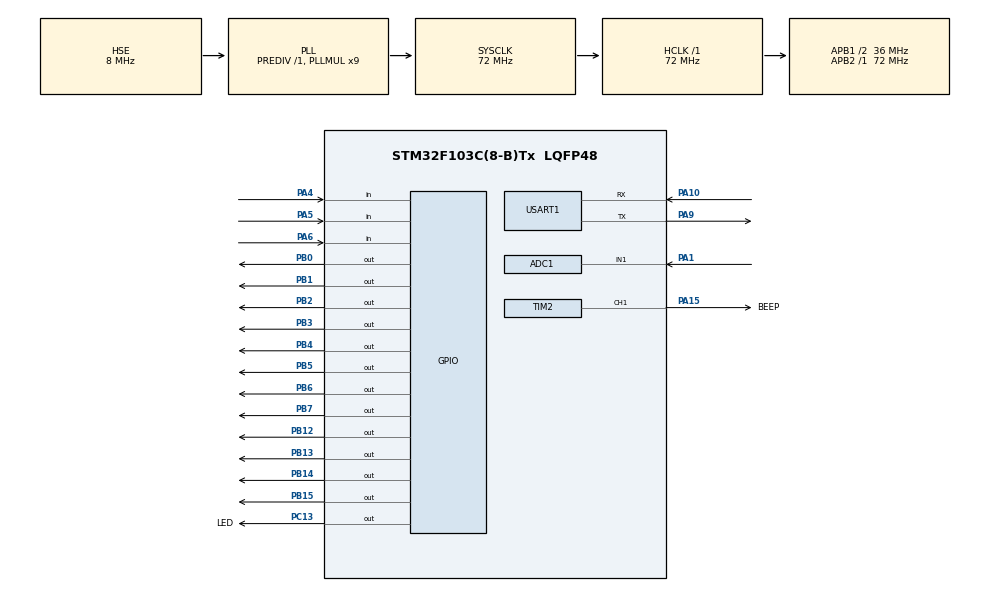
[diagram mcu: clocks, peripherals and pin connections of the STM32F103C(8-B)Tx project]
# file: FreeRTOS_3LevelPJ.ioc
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ADC1.Channel-1\#ChannelRegularConversion=ADC_CHANNEL_1
ADC1.NbrOfConversionFlag=1
ADC1.Rank-1\#ChannelRegularConversion=1
ADC1.SamplingTime-1\#ChannelRegularConversion=ADC_SAMPLETIME_1CYCLE_5
ADC1.master=1
FREERTOS.Tasks01=defaultTask,0,64,StartDefaultTask,Default,NULL,Dynamic,NULL,NULL
FREERTOS.configMINIMAL_STACK_SIZE=64
FREERTOS.configTOTAL_HEAP_SIZE=3072
Mcu.Family=STM32F1
Mcu.Name=STM32F103C(8-B)Tx
Mcu.Package=LQFP48
NVIC.ADC1_2_IRQn=true\:5\:0\:false\:false\:true\:true\:true\:true\:true
NVIC.PriorityGroup=NVIC_PRIORITYGROUP_4
NVIC.TIM1_UP_IRQn=true\:15\:0\:false\:false\:true\:false\:false\:true\:true
NVIC.TIM2_IRQn=true\:5\:0\:false\:false\:true\:true\:true\:true\:true
NVIC.TIM3_IRQn=true\:5\:0\:false\:false\:true\:true\:true\:true\:true
NVIC.TimeBase=TIM1_UP_IRQn
NVIC.TimeBaseIP=TIM1
NVIC.USART1_IRQn=true\:5\:0\:false\:false\:true\:true\:true\:true\:true
PA1.Signal=ADCx_IN1
PA10.Mode=Asynchronous
PA10.Signal=USART1_RX
PA13.Mode=Serial_Wire
PA13.Signal=SYS_JTMS-SWDIO
PA14.Mode=Serial_Wire
PA14.Signal=SYS_JTCK-SWCLK
PA15.GPIO_Label=BEEP
PA15.Signal=S_TIM2_CH1_ETR
PA4.Signal=GPIO_Input
PA5.Signal=GPIO_Input
PA6.Signal=GPIO_Input
PA9.Mode=Asynchronous
PA9.Signal=USART1_TX
PB0.Signal=GPIO_Output
PB1.Signal=GPIO_Output
PB12.PinState=GPIO_PIN_SET
PB12.Signal=GPIO_Output
PB13.PinState=GPIO_PIN_SET
PB13.Signal=GPIO_Output
PB14.PinState=GPIO_PIN_SET
PB14.Signal=GPIO_Output
PB15.PinState=GPIO_PIN_SET
PB15.Signal=GPIO_Output
PB2.Signal=GPIO_Output
PB3.Signal=GPIO_Output
PB4.Signal=GPIO_Output
PB5.Signal=GPIO_Output
PB6.Signal=GPIO_Output
PB7.Signal=GPIO_Output
PC13-TAMPER-RTC.GPIO_Label=LED
PC13-TAMPER-RTC.Signal=GPIO_Output
PD0-OSC_IN.Mode=HSE-External-Oscillator
PD0-OSC_IN.Signal=RCC_OSC_IN
PD1-OSC_OUT.Mode=HSE-External-Oscillator
PD1-OSC_OUT.Signal=RCC_OSC_OUT
ProjectManager.HeapSize=0x200
ProjectManager.StackSize=0x400
ProjectManager.TargetToolchain=MDK-ARM V5.32
RCC.ADCPresc=RCC_ADCPCLK2_DIV6
RCC.AHBFreq_Value=72000000
RCC.APB1CLKDivider=RCC_HCLK_DIV2
RCC.APB1Freq_Value=36000000
RCC.APB1TimFreq_Value=72000000
RCC.APB2Freq_Value=72000000
RCC.APB2TimFreq_Value=72000000
RCC.HCLKFreq_Value=72000000
RCC.PLLMUL=RCC_PLL_MUL9
RCC.PLLSourceVirtual=RCC_PLLSOURCE_HSE
RCC.SYSCLKFreq_VALUE=72000000
RCC.SYSCLKSource=RCC_SYSCLKSOURCE_PLLCLK
RCC.USBFreq_Value=72000000
SH.ADCx_IN1.0=ADC1_IN1,IN1
SH.S_TIM2_CH1_ETR.0=TIM2_CH1,PWM Generation1 CH1
TIM2.AutoReloadPreload=TIM_AUTORELOAD_PRELOAD_ENABLE
TIM2.Channel-PWM\ Generation1\ CH1=TIM_CHANNEL_1
TIM2.OCFastMode_PWM-PWM\ Generation1\ CH1=TIM_OCFAST_ENABLE
TIM2.Period=5000-1
TIM2.Prescaler=72-1
TIM2.Pulse-PWM\ Generation1\ CH1=100
TIM3.Period=1000
TIM3.Prescaler=72
USART1.VirtualMode=VM_ASYNC
VP_FREERTOS_VS_CMSIS_V1.Mode=CMSIS_V1
VP_SYS_VS_tim1.Mode=TIM1
VP_TIM2_VS_ClockSourceINT.Mode=Internal
VP_TIM3_VS_ClockSourceINT.Mode=Internal
board=custom

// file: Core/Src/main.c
/* USER CODE BEGIN Header */
/**
  ******************************************************************************
  * @file           : main.c
  * @brief          : Main program body
  ******************************************************************************
  * @attention
  *
  * Copyright (c) 2022 STMicroelectronics.
  * All rights reserved.
  *
  * This software is licensed under terms that can be found in the LICENSE file
  * in the root directory of this software component.
  * If no LICENSE file comes with this software, it is provided AS-IS.
  *
  ******************************************************************************
  */
/* USER CODE END Header */
#include "main.h"
#include "cmsis_os.h"
#include "adc.h"
#include "tim.h"
#include "usart.h"
#include "gpio.h"

/* USER CODE BEGIN Includes */
#include "key.h"
#include "seg.h"
/* USER CODE END Includes */

void SystemClock_Config(void);
void MX_FREERTOS_Init(void);

int main(void)
{

  /* MCU Configuration--------------------------------------------------------*/

  /* Reset of all peripherals, Initializes the Flash interface and the Systick. */
  HAL_Init();

  /* Configure the system clock */
  SystemClock_Config();

  /* Initialize all configured peripherals */
  MX_GPIO_Init();
  MX_USART1_UART_Init();
  MX_TIM2_Init();
  MX_ADC1_Init();
  MX_TIM3_Init();
  /* USER CODE BEGIN 2 */
	bsp_InitButton();
	HAL_ADCEx_Calibration_Start(&hadc1);
	//TIM2->CR1 &= (uint16_t)(~((uint16_t)TIM_CR1_CEN));
  /* USER CODE END 2 */

  /* Call init function for freertos objects (in freertos.c) */
  MX_FREERTOS_Init();

  /* Start scheduler */
  osKernelStart();

  /* We should never get here as control is now taken by the scheduler */
  /* Infinite loop */
  while (1)
  {

  }
}

void SystemClock_Config(void)
{
  RCC_OscInitTypeDef RCC_OscInitStruct = {0};
  RCC_ClkInitTypeDef RCC_ClkInitStruct = {0};
  RCC_PeriphCLKInitTypeDef PeriphClkInit = {0};

  /** Initializes the RCC Oscillators according to the specified parameters
  * in the RCC_OscInitTypeDef structure.
  */
  RCC_OscInitStruct.OscillatorType = RCC_OSCILLATORTYPE_HSE;
  RCC_OscInitStruct.HSEState = RCC_HSE_ON;
  RCC_OscInitStruct.HSEPredivValue = RCC_HSE_PREDIV_DIV1;
  RCC_OscInitStruct.HSIState = RCC_HSI_ON;
  RCC_OscInitStruct.PLL.PLLState = RCC_PLL_ON;
  RCC_OscInitStruct.PLL.PLLSource = RCC_PLLSOURCE_HSE;
  RCC_OscInitStruct.PLL.PLLMUL = RCC_PLL_MUL9;
  if (HAL_RCC_OscConfig(&RCC_OscInitStruct) != HAL_OK)
  {
    Error_Handler();
  }

  /** Initializes the CPU, AHB and APB buses clocks
  */
  RCC_ClkInitStruct.ClockType = RCC_CLOCKTYPE_HCLK|RCC_CLOCKTYPE_SYSCLK
                              |RCC_CLOCKTYPE_PCLK1|RCC_CLOCKTYPE_PCLK2;
  RCC_ClkInitStruct.SYSCLKSource = RCC_SYSCLKSOURCE_PLLCLK;
  RCC_ClkInitStruct.AHBCLKDivider = RCC_SYSCLK_DIV1;
  RCC_ClkInitStruct.APB1CLKDivider = RCC_HCLK_DIV2;
  RCC_ClkInitStruct.APB2CLKDivider = RCC_HCLK_DIV1;

  if (HAL_RCC_ClockConfig(&RCC_ClkInitStruct, FLASH_LATENCY_2) != HAL_OK)
  {
    Error_Handler();
  }
  PeriphClkInit.PeriphClockSelection = RCC_PERIPHCLK_ADC;
  PeriphClkInit.AdcClockSelection = RCC_ADCPCLK2_DIV6;
  if (HAL_RCCEx_PeriphCLKConfig(&PeriphClkInit) != HAL_OK)
  {
    Error_Handler();
  }
}

void HAL_TIM_PeriodElapsedCallback(TIM_HandleTypeDef *htim)
{
  if (htim->Instance == TIM1) {
    HAL_IncTick();
  }
  /* USER CODE BEGIN Callback 1 */
  if (htim->Instance == TIM3) {
		//printf("FUNCTION=%s\r\n",__FUNCTION__);
    DisplayScanOneTimeOneSeg();
  }
	#if 0
  if (htim->Instance == TIM2) {
		printf("FUNCTION=%s\r\n",__FUNCTION__);
  }
	#endif
  /* USER CODE END Callback 1 */
}

void Error_Handler(void)
{
  __disable_irq();
  while (1)
  {
  }
}

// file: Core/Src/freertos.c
/* USER CODE BEGIN Header */
/**
  ******************************************************************************
  * File Name          : freertos.c
  * Description        : Code for freertos applications
  ******************************************************************************
  * @attention
  *
  * Copyright (c) 2022 STMicroelectronics.
  * All rights reserved.
  *
  * This software is licensed under terms that can be found in the LICENSE file
  * in the root directory of this software component.
  * If no LICENSE file comes with this software, it is provided AS-IS.
  *
  ******************************************************************************
  */
/* USER CODE END Header */

#include "FreeRTOS.h"
#include "task.h"
#include "main.h"
#include "cmsis_os.h"

/* USER CODE BEGIN Includes */
#include <math.h>
#include "seg.h"
#include "adc.h"
#include "tim.h"
#include "key.h"
#include "stm32f1xx_hal_tim.h"
#include "usart.h"
#include "beep.h"
/* USER CODE END Includes */

/* USER CODE BEGIN PD */
#if 1
#define BEEPON		TIM2->CR1 |= TIM_CR1_CEN;
#define BEEPOFF		TIM2->CR1 &= (uint16_t)(~((uint16_t)TIM_CR1_CEN));
#else
#define BEEPON		__HAL_TIM_ENABLE(&htim2)	//TIM2->CR1 |= TIM_CR1_CEN;
#define BEEPOFF		__HAL_TIM_DISABLE(&htim2)	//TIM2->CR1 &= (uint16_t)(~((uint16_t)TIM_CR1_CEN));
#endif
/* USER CODE END PD */

/* USER CODE BEGIN PM */
#define STARTINGANIMATION_TIME 5000	/*开机动画s*/

typedef enum //主模式结构体
{
	MAINMODE_SHUTDOWN, //
	MAINMODE_NOTDIAG,
	MAINMODE_DIAG,
	MAINMODE_MAX
}MAINMODE_TYPE;

typedef enum  //子模式结构体
{
	SUBMODE_NULL,
	SUBMODE_INITIAL,
	SUBMODE_AM,
	SUBMODE_USB,
	SUBMODE_BTA,
	SUBMODE_LED,
	SUBMODE_SEG,
	SUBMODE_TEMP,
	SUBMODE_BEEP,
	SUBMODE_MAX
}SUBMODE_TYPE;

typedef enum //按键结构体
{
	KEY_RESET,
	KEY_SRC_SHORT,
	KEY_SRC_LONG,
	KEY_UP_SHORT,
	KEY_UP_LONG,
	KEY_DOWN_SHORT,
	KEY_DOWN_LONG,
	KEY_SRC_UP_GROUP,
	KEY_MAX
}KEY_TYPE;

typedef enum //数码管结构体
{
	SEG_ALLON,
	SEG_ALLOFF,
	SEG_MAX
}SEG_STATUS;

typedef enum
{
	MUSIC_STATUS_ON,
	MUSIC_STATUS_OFF,
	MUSIC_STATUS_MAX
}MUSIC_STATUS;
/* USER CODE END PM */

/* USER CODE BEGIN Variables */
/* 队列关联信息 */
#define KEYMSG_Q_NUM    1  					//按键消息队列的数量
QueueHandle_t Key_Queue = NULL;   	//按键值消息队列句柄

/* 事件标志组句柄 */
EventGroupHandle_t EventGroupHandler = NULL;

/* 二值信号量句柄 */
SemaphoreHandle_t BinarySemaphore;

/* 状态迁移表用变量 */
typedef void (*FUNC_POINETR)(MAINMODE_TYPE,SUBMODE_TYPE);

/* 状态管理用变量 */
MAINMODE_TYPE Main_Mode = MAINMODE_SHUTDOWN;
SUBMODE_TYPE Sub_Mode = SUBMODE_NULL;
MAINMODE_TYPE Before_Main_Mode = MAINMODE_SHUTDOWN;
SUBMODE_TYPE Before_Sub_Mode = SUBMODE_NULL;

/* AM的波特率 */
signed char Frequency = 80;

/* ADC温度采集值 */
float AD_TempValueFromISR = 0;
unsigned int AD_TempValue = 0;

unsigned char track_num = 1;
#define TRACK_NUM_MAX 3
MUSIC_STATUS eMusic_Status = MUSIC_STATUS_OFF;

/* 数码管全亮/全灭控制变量 */
SEG_STATUS eSubModeSeg_Status = SEG_ALLOFF;

/* 数码管显示任务 */
#define SEG_TASK_PRIO 8
#define SEG_STK_SIZE  64
void seg_task(void * pvParameters);
TaskHandle_t SegTask_Handle;

/* 按键处理任务 */
#define KEY_TASK_PRIO 6	//6
#define KEY_STK_SIZE  64
void key_task(void * pvParameters);
TaskHandle_t KeyTask_Handle;

/* 状态迁移任务 */
#define STATUS_TASK_PRIO 19
#define STATUS_STK_SIZE  256
void status_task(void * pvParameters);
TaskHandle_t StatusTask_Handle;

/* 开机动画任务 */
#define STARTINGANIMATION_TASK_PRIO 22
#define STARTINGANIMATION_STK_SIZE  64
void startinganimation_task(void * pvParameters);
TaskHandle_t StartingAnimationTask_Handle;

/* 音乐播放任务 */
#define MUSIC_TASK_PRIO 1
#define MUSIC_STK_SIZE  64
void music_task(void * pvParameters);
TaskHandle_t MusicTask_Handle;
/* USER CODE END Variables */
osThreadId defaultTaskHandle;

/* USER CODE BEGIN FunctionPrototypes */
void Initial(void);																				/* 初期化函数											*/
void SetKeyCode2EventGroup(unsigned char ucKeyCode);		/* 将按键的押下弹起整理在事件集里 */
void ChangeKey2Evnet(void);																/* 从事件集总结出按键事件					*/

/* 状态迁移函数声明部分 */
void Func_1_0(MAINMODE_TYPE mainmode,SUBMODE_TYPE submode);
void Func_1_1(MAINMODE_TYPE mainmode,SUBMODE_TYPE submode);
void Func_1_2(MAINMODE_TYPE mainmode,SUBMODE_TYPE submode);
void Func_1_3(MAINMODE_TYPE mainmode,SUBMODE_TYPE submode);
void Func_1_4(MAINMODE_TYPE mainmode,SUBMODE_TYPE submode);
void Func_1_5(MAINMODE_TYPE mainmode,SUBMODE_TYPE submode);
void Func_1_6(MAINMODE_TYPE mainmode,SUBMODE_TYPE submode);
void Func_1_7(MAINMODE_TYPE mainmode,SUBMODE_TYPE submode);
void Func_1_8(MAINMODE_TYPE mainmode,SUBMODE_TYPE submode);
void Func_2_0(MAINMODE_TYPE mainmode,SUBMODE_TYPE submode);
void Func_2_1(MAINMODE_TYPE mainmode,SUBMODE_TYPE submode);
void Func_2_2(MAINMODE_TYPE mainmode,SUBMODE_TYPE submode);
void Func_2_3(MAINMODE_TYPE mainmode,SUBMODE_TYPE submode);
void Func_2_4(MAINMODE_TYPE mainmode,SUBMODE_TYPE submode);
void Func_2_5(MAINMODE_TYPE mainmode,SUBMODE_TYPE submode);
void Func_2_6(MAINMODE_TYPE mainmode,SUBMODE_TYPE submode);
void Func_2_7(MAINMODE_TYPE mainmode,SUBMODE_TYPE submode);
void Func_2_8(MAINMODE_TYPE mainmode,SUBMODE_TYPE submode);
void Func_3_0(MAINMODE_TYPE mainmode,SUBMODE_TYPE submode);
void Func_3_1(MAINMODE_TYPE mainmode,SUBMODE_TYPE submode);
void Func_3_2(MAINMODE_TYPE mainmode,SUBMODE_TYPE submode);
void Func_3_3(MAINMODE_TYPE mainmode,SUBMODE_TYPE submode);
void Func_3_4(MAINMODE_TYPE mainmode,SUBMODE_TYPE submode);
void Func_3_5(MAINMODE_TYPE mainmode,SUBMODE_TYPE submode);
void Func_3_6(MAINMODE_TYPE mainmode,SUBMODE_TYPE submode);
void Func_3_7(MAINMODE_TYPE mainmode,SUBMODE_TYPE submode);
void Func_3_8(MAINMODE_TYPE mainmode,SUBMODE_TYPE submode);
void Func_4_0(MAINMODE_TYPE mainmode,SUBMODE_TYPE submode);
void Func_4_1(MAINMODE_TYPE mainmode,SUBMODE_TYPE submode);
void Func_4_2(MAINMODE_TYPE mainmode,SUBMODE_TYPE submode);
void Func_4_3(MAINMODE_TYPE mainmode,SUBMODE_TYPE submode);
void Func_4_4(MAINMODE_TYPE mainmode,SUBMODE_TYPE submode);
void Func_4_5(MAINMODE_TYPE mainmode,SUBMODE_TYPE submode);
void Func_4_6(MAINMODE_TYPE mainmode,SUBMODE_TYPE submode);
void Func_4_7(MAINMODE_TYPE mainmode,SUBMODE_TYPE submode);
void Func_4_8(MAINMODE_TYPE mainmode,SUBMODE_TYPE submode);
void Func_5_0(MAINMODE_TYPE mainmode,SUBMODE_TYPE submode);
void Func_5_1(MAINMODE_TYPE mainmode,SUBMODE_TYPE submode);
void Func_5_2(MAINMODE_TYPE mainmode,SUBMODE_TYPE submode);
void Func_5_3(MAINMODE_TYPE mainmode,SUBMODE_TYPE submode);
void Func_5_4(MAINMODE_TYPE mainmode,SUBMODE_TYPE submode);
void Func_5_5(MAINMODE_TYPE mainmode,SUBMODE_TYPE submode);
void Func_5_6(MAINMODE_TYPE mainmode,SUBMODE_TYPE submode);
void Func_5_7(MAINMODE_TYPE mainmode,SUBMODE_TYPE submode);
void Func_5_8(MAINMODE_TYPE mainmode,SUBMODE_TYPE submode);
void Func_6_0(MAINMODE_TYPE mainmode,SUBMODE_TYPE submode);
void Func_6_1(MAINMODE_TYPE mainmode,SUBMODE_TYPE submode);
void Func_6_2(MAINMODE_TYPE mainmode,SUBMODE_TYPE submode);
void Func_6_3(MAINMODE_TYPE mainmode,SUBMODE_TYPE submode);
void Func_6_4(MAINMODE_TYPE mainmode,SUBMODE_TYPE submode);
void Func_6_5(MAINMODE_TYPE mainmode,SUBMODE_TYPE submode);
void Func_6_6(MAINMODE_TYPE mainmode,SUBMODE_TYPE submode);
void Func_6_7(MAINMODE_TYPE mainmode,SUBMODE_TYPE submode);
void Func_6_8(MAINMODE_TYPE mainmode,SUBMODE_TYPE submode);
void Func_7_0(MAINMODE_TYPE mainmode,SUBMODE_TYPE submode);
void Func_7_1(MAINMODE_TYPE mainmode,SUBMODE_TYPE submode);
void Func_7_2(MAINMODE_TYPE mainmode,SUBMODE_TYPE submode);
void Func_7_3(MAINMODE_TYPE mainmode,SUBMODE_TYPE submode);
void Func_7_4(MAINMODE_TYPE mainmode,SUBMODE_TYPE submode);
void Func_7_5(MAINMODE_TYPE mainmode,SUBMODE_TYPE submode);
void Func_7_6(MAINMODE_TYPE mainmode,SUBMODE_TYPE submode);
void Func_7_7(MAINMODE_TYPE mainmode,SUBMODE_TYPE submode);
void Func_7_8(MAINMODE_TYPE mainmode,SUBMODE_TYPE submode);

/* 根据状态迁移表做出来的状态迁移矩阵 */
FUNC_POINETR STATUS_FUNC_MATRIX[KEY_MAX][SUBMODE_MAX]=
{
	{NULL,			NULL,			NULL,			NULL,			NULL,			NULL,			NULL,			NULL,			NULL},
	{Func_1_0,	NULL,			Func_1_2,	Func_1_3,	Func_1_4,	Func_1_5,	Func_1_6,	Func_1_7,	Func_1_8},
	{Func_2_0,	NULL,			Func_2_2,	Func_2_3,	Func_2_4,	NULL,			NULL,			NULL,			NULL},
	{NULL,			NULL,			Func_3_2,	Func_3_3,	NULL,			Func_3_5,	Func_3_6,	NULL,			NULL},
	{NULL,			NULL,			Func_4_2,	NULL,			NULL,			Func_4_5,	Func_4_6,	NULL,			NULL},
	{NULL,			NULL,			Func_5_2,	Func_5_3,	NULL,			Func_5_5,	Func_5_6,	Func_5_7,	Func_5_8},
	{NULL,			NULL,			Func_6_2,	NULL,			NULL,			Func_6_5,	Func_6_6,	Func_6_7,	Func_6_8},
	{NULL,			NULL,			Func_7_2,	NULL,			NULL,			NULL,			NULL,			NULL,			NULL}
};
/* USER CODE END FunctionPrototypes */

void StartDefaultTask(void const * argument);

void MX_FREERTOS_Init(void); /* (MISRA C 2004 rule 8.1) */

/* GetIdleTaskMemory prototype (linked to static allocation support) */
void vApplicationGetIdleTaskMemory( StaticTask_t **ppxIdleTaskTCBBuffer, StackType_t **ppxIdleTaskStackBuffer, uint32_t *pulIdleTaskStackSize );

/* USER CODE BEGIN GET_IDLE_TASK_MEMORY */
static StaticTask_t xIdleTaskTCBBuffer;
static StackType_t xIdleStack[configMINIMAL_STACK_SIZE];

void vApplicationGetIdleTaskMemory( StaticTask_t **ppxIdleTaskTCBBuffer, StackType_t **ppxIdleTaskStackBuffer, uint32_t *pulIdleTaskStackSize )
{
  *ppxIdleTaskTCBBuffer = &xIdleTaskTCBBuffer;
  *ppxIdleTaskStackBuffer = &xIdleStack[0];
  *pulIdleTaskStackSize = configMINIMAL_STACK_SIZE;
  /* place for user code */
}
/* USER CODE END GET_IDLE_TASK_MEMORY */

void MX_FREERTOS_Init(void) {

  /* USER CODE BEGIN RTOS_TIMERS */
  HAL_TIM_Base_Start_IT(&htim2);			/* NEU_FUNCTION:BEEP */
	HAL_TIM_Base_Start_IT(&htim3);		  /* NEU_FUNCTION:SEG  */
  /* USER CODE END RTOS_TIMERS */

  /* Create the thread(s) */
  /* definition and creation of defaultTask */
  osThreadDef(defaultTask, StartDefaultTask, osPriorityNormal, 0, 64);
  defaultTaskHandle = osThreadCreate(osThread(defaultTask), NULL);

}

void StartDefaultTask(void const * argument)
{
  /* USER CODE BEGIN StartDefaultTask */
  /* Infinite loop */
	/*进入临界段*/
	taskENTER_CRITICAL();
	/* 创建任务，队列，信号量等 */

	/* 创建消息队列Key_Queue */
	Key_Queue=xQueueCreate(KEYMSG_Q_NUM,sizeof(char));
  /* 创建事件标志组 */
	EventGroupHandler=xEventGroupCreate();
	/* 创建二值号量	*/
	BinarySemaphore=xSemaphoreCreateBinary();

	/* 创建数码管显示任务 */
	xTaskCreate((TaskFunction_t) seg_task,
							(char*         ) "seg_task",
							(configSTACK_DEPTH_TYPE) SEG_STK_SIZE,
							(void*         ) NULL,
							(UBaseType_t   ) SEG_TASK_PRIO,
							(TaskHandle_t* ) &SegTask_Handle);

	/* 创建按键处理任务 */
	xTaskCreate((TaskFunction_t) key_task,
							(char*         ) "key_task",
							(configSTACK_DEPTH_TYPE) KEY_STK_SIZE,
							(void*         ) NULL,
							(UBaseType_t   ) KEY_TASK_PRIO,
							(TaskHandle_t* ) &KeyTask_Handle);

	/* 创建状态迁移任务 */
	xTaskCreate((TaskFunction_t) status_task,
							(char*         ) "status_task",
							(configSTACK_DEPTH_TYPE) STATUS_STK_SIZE,
							(void*         ) NULL,
							(UBaseType_t   ) STATUS_TASK_PRIO,
							(TaskHandle_t* ) &StatusTask_Handle);

	/* 创建开机动画任务 */
	xTaskCreate((TaskFunction_t) startinganimation_task,
							(char*         ) "startinganimation_task",
							(configSTACK_DEPTH_TYPE) STARTINGANIMATION_STK_SIZE,
							(void*         ) NULL,
							(UBaseType_t   ) STARTINGANIMATION_TASK_PRIO,
							(TaskHandle_t* ) &StartingAnimationTask_Handle);

	/* 音乐播放任务 */
	xTaskCreate((TaskFunction_t) music_task,
							(char*         ) "music_task",
							(configSTACK_DEPTH_TYPE) MUSIC_STK_SIZE,
							(void*         ) NULL,
							(UBaseType_t   ) MUSIC_TASK_PRIO,
							(TaskHandle_t* ) &MusicTask_Handle);

	vTaskDelete(defaultTaskHandle);
	/*退出临界段*/
	taskEXIT_CRITICAL();
  /* USER CODE END StartDefaultTask */
}

/* USER CODE BEGIN Application */
/* 数码管显示任务 */
void seg_task(void* argument)
{
  /* Infinite loop */
  for(;;)
  {

		if((Main_Mode == MAINMODE_SHUTDOWN)&& (Sub_Mode == SUBMODE_NULL)) //判断主子模式
		{
			LEDDisplayString("####", NO_DOT);						/* #:熄灭 */
		}else if(Main_Mode == MAINMODE_NOTDIAG)
		{
			switch( Sub_Mode )
			{
				case SUBMODE_INITIAL:
					break;
				case SUBMODE_AM:
					LEDDisplay2Half('A',Frequency,3);
					break;
				case SUBMODE_USB:
					LEDDisplay2Half('U',track_num,3);
					break;
				case SUBMODE_BTA:
						LEDDisplayString("B---", 3);
					break;
			}
		}else if(Main_Mode == MAINMODE_DIAG){
			switch(Sub_Mode)
			{
				case SUBMODE_LED:
					LEDDisplayString("1LED", 3);
					ALLOFF;
					break;
				case SUBMODE_SEG:
					if(SEG_ALLON == eSubModeSeg_Status)
					{
						LEDDisplayString("****", ALL_DOT);		/* *:全亮 */
					}else{
						LEDDisplayString("####", NO_DOT);			/* #:熄灭 */
					}
					break;
				case SUBMODE_TEMP:
					HAL_ADC_Start_IT(&hadc1); // 开中断获取值
					LEDDisplayNumber(3000+AD_TempValue,3);
					break;
				case SUBMODE_BEEP:
					LEDDisplayString("4BPP", 3);
					break;
				default:
					break;
			}
		}
    osDelay(100);
  }
}

/* 按键处理任务 */
void key_task(void* argument)
{
	unsigned char KeyCode;	/* 按键代码 */

	while(1)
	{
		bsp_KeyPro();
		KeyCode = bsp_GetKey();

		if (KeyCode > 0)
		{
			SetKeyCode2EventGroup(KeyCode);
			ChangeKey2Evnet();
		}

		osDelay(10);
	}
}

static void ChangeKey2Evnet()
{
	EventBits_t EventValue;
	unsigned char value = 0xFF;

	if(NULL != EventGroupHandler)
	{
		EventValue = xEventGroupGetBits(EventGroupHandler);
		switch(EventValue)
		{
			case ST2_KEY_SHORT:
				value = KEY_SRC_SHORT;
				xQueueSend(Key_Queue,&value,portMAX_DELAY);
				xEventGroupClearBits(EventGroupHandler,0x0FFF);
				break;
			case ST2_KEY_LONG:
				value = KEY_SRC_LONG;
				xQueueSend(Key_Queue,&value,portMAX_DELAY);
				xEventGroupClearBits(EventGroupHandler,0x0FFF);
				break;
			case ST3_KEY_SHORT:
				value = KEY_UP_SHORT;
				xQueueSend(Key_Queue,&value,portMAX_DELAY);
				xEventGroupClearBits(EventGroupHandler,0x0FFF);
				break;
			case ST3_KEY_LONG:
				value = KEY_UP_LONG;
				xQueueSend(Key_Queue,&value,portMAX_DELAY);
				xEventGroupClearBits(EventGroupHandler,0x0FFF);
				break;
			case ST4_KEY_SHORT:
				value = KEY_DOWN_SHORT;
				xQueueSend(Key_Queue,&value,portMAX_DELAY);
				xEventGroupClearBits(EventGroupHandler,0x0000);
				break;
			case ST4_KEY_LONG:
				value = KEY_DOWN_LONG;
				xQueueSend(Key_Queue,&value,portMAX_DELAY);
				xEventGroupClearBits(EventGroupHandler,0x0000);
				break;
			case ST2_ST3_GROUP:
				value = KEY_SRC_UP_GROUP;
				xQueueSend(Key_Queue,&value,portMAX_DELAY);
				xEventGroupClearBits(EventGroupHandler,0x0000);
				break;
			default:
				break;
		}
	}
}

static void SetKeyCode2EventGroup(unsigned char ucKeyCode)
{
	if(NULL != EventGroupHandler)
	{
		switch (ucKeyCode) {
			case KEY_DOWN_BTN1:
				xEventGroupSetBits(EventGroupHandler,ST2_BIT_SHORT);//SW2键按下
				break;
			case KEY_UP_BTN1:
				xEventGroupSetBits(EventGroupHandler,ST2_BIT_UP);//SW2键弹起
				break;
			case KEY_LONG_BTN1:
				xEventGroupSetBits(EventGroupHandler,ST2_BIT_LONG);//SW2键长按
				break;
			case KEY_DOWN_BTN2:
				xEventGroupSetBits(EventGroupHandler,ST3_BIT_SHORT);//SW3键按下
				break;
			case KEY_UP_BTN2:
				xEventGroupSetBits(EventGroupHandler,ST3_BIT_UP);//SW3键弹起
				break;
			case KEY_LONG_BTN2:
				xEventGroupSetBits(EventGroupHandler,ST3_BIT_LONG);//SW3键长按
				break;
			case KEY_DOWN_BTN3:
				xEventGroupSetBits(EventGroupHandler,ST4_BIT_SHORT);//SW4键按下
				break;
			case KEY_UP_BTN3:
				xEventGroupSetBits(EventGroupHandler,ST4_BIT_UP);//SW4键弹起
				break;
			case KEY_LONG_BTN3:
				xEventGroupSetBits(EventGroupHandler,ST4_BIT_LONG);//SW4键长按
				break;
			case KEY_DOWN_BTN1_BTN2:
				xEventGroupSetBits(EventGroupHandler,ST2_ST3_BIT_GROUP);//组合键，SW2键和SW3键同时按下
				break;
			default:
				break;
		}
	}
}

/* 状态迁移任务 */
void status_task(void* argument)
{
	unsigned char event;
	Initial();
  /* Infinite loop */
  while(1)
  {
		if(Key_Queue!=NULL)
    {
			if(xQueueReceive(Key_Queue,&event,portMAX_DELAY))
			{
				if((event < KEY_MAX) || (Main_Mode < MAINMODE_MAX) || (Sub_Mode < SUBMODE_MAX))
				{
					if(STATUS_FUNC_MATRIX[event][Sub_Mode] != NULL)
					{
						(*STATUS_FUNC_MATRIX[event][Sub_Mode])(Main_Mode,Sub_Mode);
					}
				}
			}
		}
		osDelay(50);
  }
}

/* 开机动画任务 */
void startinganimation_task(void* argument)
{
	BaseType_t state;
	static unsigned char num = 0;
	unsigned int time = 500;
	unsigned char times	= STARTINGANIMATION_TIME/time;

  while(1)
  {
		if(NULL != BinarySemaphore)
		{
			state = xSemaphoreTake(BinarySemaphore,portMAX_DELAY);
			if(pdTRUE == state  )
			{
				while(1)
				{
					if(times == num)
					{
						break;
					}
					LEDDisplayString("$###", NO_DOT);
					osDelay(time);

					LEDDisplayString("#$##", NO_DOT);
					osDelay(time);

					LEDDisplayString("##$#", NO_DOT);
					osDelay(time);

					LEDDisplayString("###$", NO_DOT);
					osDelay(time);
					num++;

				}
			}
		}
  }
}

/* 音乐播放任务 */
void music_task(void* argument)
{
  while(1)
  {
		if(MUSIC_STATUS_ON == eMusic_Status)
		{
			switch(track_num)
			{
				case 1:
								HAL_TIM_PWM_Start(&htim2,TIM_CHANNEL_1);
								BEEPON;
								osDelay(1);
								BEEPOFF;
								osDelay(1);
								HAL_TIM_PWM_Stop(&htim2,TIM_CHANNEL_1);
								break;
				case 2:
								HAL_TIM_PWM_Start(&htim2,TIM_CHANNEL_1);
								BEEPON;
								osDelay(10);
								BEEPOFF;
								osDelay(10);
								HAL_TIM_PWM_Stop(&htim2,TIM_CHANNEL_1);
								break;
				case 3:
								HAL_TIM_PWM_Start(&htim2,TIM_CHANNEL_1);
								BEEPON;
								osDelay(100);
								BEEPOFF;
								osDelay(100);
								HAL_TIM_PWM_Stop(&htim2,TIM_CHANNEL_1);
							break;
			}
		}
		osDelay(100);
  }
}

void Initial()
{

	Main_Mode = MAINMODE_NOTDIAG;
	Sub_Mode = SUBMODE_INITIAL;

	HAL_GPIO_WritePin(LED_GPIO_Port,LED_Pin,GPIO_PIN_SET);

	if(NULL != BinarySemaphore)
	{
		xSemaphoreGive(BinarySemaphore);//开启动画
	}
	osDelay(5000);
	vTaskDelete(StartingAnimationTask_Handle);

	/* 5S后进入AM子模式 */
	Main_Mode = MAINMODE_NOTDIAG;
	Sub_Mode = SUBMODE_AM;

	Frequency = 80;
	eMusic_Status = MUSIC_STATUS_OFF;
	AD_TempValue = 0;

}

void SetMainSubMode(MAINMODE_TYPE eMainMode, SUBMODE_TYPE eSubMode)
{
	Main_Mode = eMainMode;
	Sub_Mode = eSubMode;
}

void GetMainSubMode(MAINMODE_TYPE* peMainMode, SUBMODE_TYPE* peSubMode)
{
	*peMainMode = Main_Mode;
	*peSubMode = Sub_Mode;
}

/* 将ADC值转换成温度函数 */
//Rth = R25*exp[B*(1/T - 1/(273.15+25))]
//T = 1/(1/Beta*log(Rth/R25) + 1/(273.15+25))-273.15;
//c语言里面只有两个函数log和log10，
//其中函数 log(x) 表示是以e为底的自然对数，即 ln(x)函数。
//log10(x) 以10为底的对数，即 lg(x)。
void HAL_ADC_ConvCpltCallback(ADC_HandleTypeDef* hadc)
{
	uint32_t value = 0;
	float temprature;
	float res;

	value = HAL_ADC_GetValue(hadc);
	res = (R1*value)/(uint32_t)(4095-value);
	temprature = 1/(log(res/NTC_R0)/NTC_B+1/NTC_T0);
	AD_TempValueFromISR = temprature - K;

}

/* 状态迁移函数 */

void Func_1_0(MAINMODE_TYPE mainmode,SUBMODE_TYPE submode)
{
	//printf("FUNCTION=%s\r\n",__FUNCTION__);
	osDelay(5000);

	if((MAINMODE_NOTDIAG == Before_Main_Mode) && (SUBMODE_USB == Before_Sub_Mode))
	{
		eMusic_Status = MUSIC_STATUS_ON;
	}
	SetMainSubMode(Before_Main_Mode,Before_Sub_Mode);
}

void Func_1_1(MAINMODE_TYPE mainmode,SUBMODE_TYPE submode){}

void Func_1_2(MAINMODE_TYPE mainmode,SUBMODE_TYPE submode)
{

	HAL_GPIO_WritePin(LED_GPIO_Port,LED_Pin,GPIO_PIN_SET);
	track_num = 1;
	eMusic_Status = MUSIC_STATUS_ON;
	SetMainSubMode(MAINMODE_NOTDIAG,SUBMODE_USB);

}
void Func_1_3(MAINMODE_TYPE mainmode,SUBMODE_TYPE submode)
{

	HAL_GPIO_WritePin(LED_GPIO_Port,LED_Pin,GPIO_PIN_SET);
	eMusic_Status = MUSIC_STATUS_OFF;
	SetMainSubMode(MAINMODE_NOTDIAG,SUBMODE_BTA);

}
void Func_1_4(MAINMODE_TYPE mainmode,SUBMODE_TYPE submode)
{
	HAL_GPIO_WritePin(LED_GPIO_Port,LED_Pin,GPIO_PIN_RESET);
	SetMainSubMode(MAINMODE_NOTDIAG,SUBMODE_AM);
}
void Func_1_5(MAINMODE_TYPE mainmode,SUBMODE_TYPE submode)
{
	HAL_GPIO_WritePin(LED_GPIO_Port,LED_Pin,GPIO_PIN_RESET);
	SetMainSubMode(MAINMODE_DIAG,SUBMODE_SEG);
	eSubModeSeg_Status = SEG_ALLOFF;
}
void Func_1_6(MAINMODE_TYPE mainmode,SUBMODE_TYPE submode)
{
	HAL_GPIO_WritePin(LED_GPIO_Port,LED_Pin,GPIO_PIN_SET);
	SetMainSubMode(MAINMODE_DIAG,SUBMODE_TEMP);
}
void Func_1_7(MAINMODE_TYPE mainmode,SUBMODE_TYPE submode)
{
	HAL_GPIO_WritePin(LED_GPIO_Port,LED_Pin,GPIO_PIN_SET);
	SetMainSubMode(MAINMODE_DIAG,SUBMODE_BEEP);
}
void Func_1_8(MAINMODE_TYPE mainmode,SUBMODE_TYPE submode)
{
	HAL_GPIO_WritePin(LED_GPIO_Port,LED_Pin,GPIO_PIN_SET);
	SetMainSubMode(MAINMODE_DIAG,SUBMODE_LED);
}
void Func_2_0(MAINMODE_TYPE mainmode,SUBMODE_TYPE submode)
{
	osDelay(5000);
	if((MAINMODE_NOTDIAG == Before_Main_Mode) && (SUBMODE_USB == Before_Sub_Mode))
	{
		eMusic_Status = MUSIC_STATUS_ON;
	}
	SetMainSubMode(Before_Main_Mode,Before_Sub_Mode);
}
void Func_2_1(MAINMODE_TYPE mainmode,SUBMODE_TYPE submode){}
void Func_2_2(MAINMODE_TYPE mainmode,SUBMODE_TYPE submode)
{
	/* 1.数码管全灭：数码管显示任务完成 */
	/* 2.LED灯灭 */
	HAL_GPIO_WritePin(LED_GPIO_Port,LED_Pin,GPIO_PIN_SET);

	Before_Main_Mode = Main_Mode;
	Before_Sub_Mode = Sub_Mode;

	SetMainSubMode(MAINMODE_SHUTDOWN,SUBMODE_NULL);
}
void Func_2_3(MAINMODE_TYPE mainmode,SUBMODE_TYPE submode)
{
	/* 1.数码管全灭：数码管显示任务完成 */
	/* 2.LED灯灭 */
	HAL_GPIO_WritePin(LED_GPIO_Port,LED_Pin,GPIO_PIN_SET);

	Before_Main_Mode = Main_Mode;
	Before_Sub_Mode = Sub_Mode;

	eMusic_Status = MUSIC_STATUS_OFF;

	SetMainSubMode(MAINMODE_SHUTDOWN,SUBMODE_NULL);
}
void Func_2_4(MAINMODE_TYPE mainmode,SUBMODE_TYPE submode)
{
	/* 1.数码管全灭：数码管显示任务完成 */
	/* 2.LED灯灭 */
	HAL_GPIO_WritePin(LED_GPIO_Port,LED_Pin,GPIO_PIN_SET);

	Before_Main_Mode = Main_Mode;
	Before_Sub_Mode = Sub_Mode;

	SetMainSubMode(MAINMODE_SHUTDOWN,SUBMODE_NULL);
	//printf("FUNCTION=%s\r\n",__FUNCTION__);
}
void Func_2_5(MAINMODE_TYPE mainmode,SUBMODE_TYPE submode){}
void Func_2_6(MAINMODE_TYPE mainmode,SUBMODE_TYPE submode){}
void Func_2_7(MAINMODE_TYPE mainmode,SUBMODE_TYPE submode){}
void Func_2_8(MAINMODE_TYPE mainmode,SUBMODE_TYPE submode){}
void Func_3_0(MAINMODE_TYPE mainmode,SUBMODE_TYPE submode){}
void Func_3_1(MAINMODE_TYPE mainmode,SUBMODE_TYPE submode){}
void Func_3_2(MAINMODE_TYPE mainmode,SUBMODE_TYPE submode)
{
	Frequency++;
	if(Frequency > 100)
	{
		Frequency = 0;
	}
}
void Func_3_3(MAINMODE_TYPE mainmode,SUBMODE_TYPE submode)
{
	if(track_num < TRACK_NUM_MAX)
	{
		track_num++;
	}else{
		track_num = 1;
	}
}
void Func_3_4(MAINMODE_TYPE mainmode,SUBMODE_TYPE submode){}
void Func_3_5(MAINMODE_TYPE mainmode,SUBMODE_TYPE submode)
{
	HAL_GPIO_WritePin(LED_GPIO_Port,LED_Pin,GPIO_PIN_RESET);
}
void Func_3_6(MAINMODE_TYPE mainmode,SUBMODE_TYPE submode)
{
	eSubModeSeg_Status = SEG_ALLON;
}
void Func_3_7(MAINMODE_TYPE mainmode,SUBMODE_TYPE submode){}
void Func_3_8(MAINMODE_TYPE mainmode,SUBMODE_TYPE submode){}
void Func_4_0(MAINMODE_TYPE mainmode,SUBMODE_TYPE submode){}
void Func_4_1(MAINMODE_TYPE mainmode,SUBMODE_TYPE submode){}
void Func_4_2(MAINMODE_TYPE mainmode,SUBMODE_TYPE submode)
{
	Frequency++;
	if(Frequency > 100)
	{
		Frequency = 0;
	}
}
void Func_4_3(MAINMODE_TYPE mainmode,SUBMODE_TYPE submode){}
void Func_4_4(MAINMODE_TYPE mainmode,SUBMODE_TYPE submode){}
void Func_4_5(MAINMODE_TYPE mainmode,SUBMODE_TYPE submode)
{
	HAL_GPIO_WritePin(LED_GPIO_Port,LED_Pin,GPIO_PIN_RESET);
}
void Func_4_6(MAINMODE_TYPE mainmode,SUBMODE_TYPE submode)
{
	eSubModeSeg_Status = SEG_ALLON;
}
void Func_4_7(MAINMODE_TYPE mainmode,SUBMODE_TYPE submode){}
void Func_4_8(MAINMODE_TYPE mainmode,SUBMODE_TYPE submode){}
void Func_5_0(MAINMODE_TYPE mainmode,SUBMODE_TYPE submode){}
void Func_5_1(MAINMODE_TYPE mainmode,SUBMODE_TYPE submode){}
void Func_5_2(MAINMODE_TYPE mainmode,SUBMODE_TYPE submode)
{
	Frequency--;
	if(Frequency < 0)
	{
		Frequency = 100;
	}
}
void Func_5_3(MAINMODE_TYPE mainmode,SUBMODE_TYPE submode)
{
	if(track_num == 1)
	{
		track_num = 3;
	}else{
		track_num--;
	}
}
void Func_5_4(MAINMODE_TYPE mainmode,SUBMODE_TYPE submode){}
void Func_5_5(MAINMODE_TYPE mainmode,SUBMODE_TYPE submode)
{
		HAL_GPIO_WritePin(LED_GPIO_Port,LED_Pin,GPIO_PIN_SET);
}
void Func_5_6(MAINMODE_TYPE mainmode,SUBMODE_TYPE submode)
{
	eSubModeSeg_Status = SEG_ALLOFF;
}
void Func_5_7(MAINMODE_TYPE mainmode,SUBMODE_TYPE submode)
{
	AD_TempValue = AD_TempValueFromISR;
}
void Func_5_8(MAINMODE_TYPE mainmode,SUBMODE_TYPE submode)
{
		eMusic_Status = MUSIC_STATUS_ON;
}
void Func_6_0(MAINMODE_TYPE mainmode,SUBMODE_TYPE submode){}
void Func_6_1(MAINMODE_TYPE mainmode,SUBMODE_TYPE submode){}
void Func_6_2(MAINMODE_TYPE mainmode,SUBMODE_TYPE submode)
{
	Frequency--;
	if(Frequency < 0)
	{
		Frequency = 100;
	}
}
void Func_6_3(MAINMODE_TYPE mainmode,SUBMODE_TYPE submode){}
void Func_6_4(MAINMODE_TYPE mainmode,SUBMODE_TYPE submode){}
void Func_6_5(MAINMODE_TYPE mainmode,SUBMODE_TYPE submode)
{
		HAL_GPIO_WritePin(LED_GPIO_Port,LED_Pin,GPIO_PIN_SET);
}
void Func_6_6(MAINMODE_TYPE mainmode,SUBMODE_TYPE submode)
{
	eSubModeSeg_Status = SEG_ALLOFF;
}
void Func_6_7(MAINMODE_TYPE mainmode,SUBMODE_TYPE submode)
{
	AD_TempValue = AD_TempValueFromISR;
}
void Func_6_8(MAINMODE_TYPE mainmode,SUBMODE_TYPE submode)
{
	eMusic_Status = MUSIC_STATUS_OFF;
}
void Func_7_0(MAINMODE_TYPE mainmode,SUBMODE_TYPE submode){}
void Func_7_1(MAINMODE_TYPE mainmode,SUBMODE_TYPE submode){}
void Func_7_2(MAINMODE_TYPE mainmode,SUBMODE_TYPE submode)
{
	HAL_GPIO_WritePin(LED_GPIO_Port,LED_Pin,GPIO_PIN_SET);
	SetMainSubMode(MAINMODE_DIAG,SUBMODE_LED);
}
void Func_7_3(MAINMODE_TYPE mainmode,SUBMODE_TYPE submode)
{
	BEEPOFF;
}
void Func_7_4(MAINMODE_TYPE mainmode,SUBMODE_TYPE submode){}
void Func_7_5(MAINMODE_TYPE mainmode,SUBMODE_TYPE submode){}
void Func_7_6(MAINMODE_TYPE mainmode,SUBMODE_TYPE submode){}
void Func_7_7(MAINMODE_TYPE mainmode,SUBMODE_TYPE submode){}
void Func_7_8(MAINMODE_TYPE mainmode,SUBMODE_TYPE submode){}
/* USER CODE END Application */
